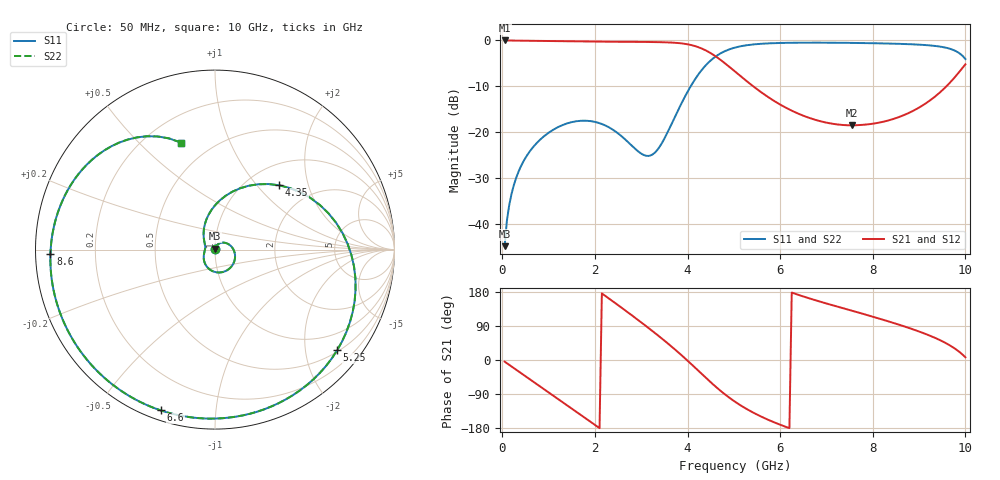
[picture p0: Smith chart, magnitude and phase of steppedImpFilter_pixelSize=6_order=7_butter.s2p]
! freq	dB(S11)	phase(S11)	dB(S12)	phase(S12)
!  dB(S21)	phase(S21)	dB(S22)	phase(S22)
!S-par simulation data
#  GHz  S  DB  R 50
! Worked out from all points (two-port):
!   200 points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, 50 MHz to 10 GHz, reference 50 ohm
!   highest |S21| = -0.01 dB at 50 MHz (marker M1); lowest = -18.5 dB at 7.55 GHz (marker M2)
!   |S21| within 3 dB of the highest: start of sweep to 4.537 GHz
!   lowest |S11| = -44.9 dB at 50 MHz (marker M3), VSWR 1.01, Z = 50.1 + j0.561 ohm
!   |S11| at or under -10 dB: start of sweep to 4.068 GHz
!   |S22| runs from -44.9 to -0.5 dB; largest |S21 - S12| = 0
!   S11 on the Smith chart (normalised r, x): 50 MHz: 1.00, +0.01; 4.35 GHz: 1.37, +1.32; 5.25 GHz: 0.54, -2.70; 6.6 GHz: 0.04, -0.72; 8.6 GHz: 0.04, -0.01; 10 GHz: 0.34, +0.67
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0.05  -44.86 78.4  -0.01 -4.3  -0.01 -4.3  -44.86 78.4
0.15  -35.88 73.7  -0.03 -12.9  -0.03 -12.9  -35.88 73.7
0.3  -29.95 62.6  -0.04 -25.7  -0.04 -25.7  -29.95 62.6
0.95  -20.50 9.0  -0.14 -81.2  -0.14 -81.2  -20.50 9.0
1.35  -18.26 -24.9  -0.20 -115.3  -0.20 -115.3  -18.26 -24.9
1.75  -17.50 -59.0  -0.25 -149.7  -0.25 -149.7  -17.50 -59.0
2.45  -19.89 -119.8  -0.29 149.3  -0.29 149.3  -19.89 -119.8
2.95  -24.32 -166.3  -0.32 103.9  -0.32 103.9  -24.32 -166.3
3.4  -23.15 146.8  -0.38 61.1  -0.38 61.1  -23.15 146.8
3.9  -13.11 95.3  -0.68 9.4  -0.68 9.4  -13.11 95.3
4.35  -5.92 45.2  -1.96 -41.8  -1.96 -41.8  -5.92 45.2
4.7  -2.90 7.4  -4.15 -80.0  -4.15 -80.0  -2.90 7.4
5.05  -1.49 -24.3  -6.99 -112.1  -6.99 -112.1  -1.49 -24.3
5.25  -1.09 -39.4  -8.65 -127.4  -8.65 -127.4  -1.09 -39.4
5.85  -0.60 -75.4  -13.07 -163.4  -13.07 -163.4  -0.60 -75.4
6.6  -0.49 -108.7  -16.79 163.8  -16.79 163.8  -0.49 -108.7
6.7  -0.49 -112.6  -17.13 160.0  -17.13 160.0  -0.49 -112.6
7.55  -0.54 -142.8  -18.51 130.2  -18.51 130.2  -0.54 -142.8
8.35  -0.68 -169.8  -17.41 101.4  -17.41 101.4  -0.68 -169.8
8.6  -0.75 -178.5  -16.58 91.9  -16.58 91.9  -0.75 -178.5
9.4  -1.27 148.9  -11.78 55.4  -11.78 55.4  -1.27 148.9
10  -4.06 107.7  -5.21 7.2  -5.21 7.2  -4.06 107.7
